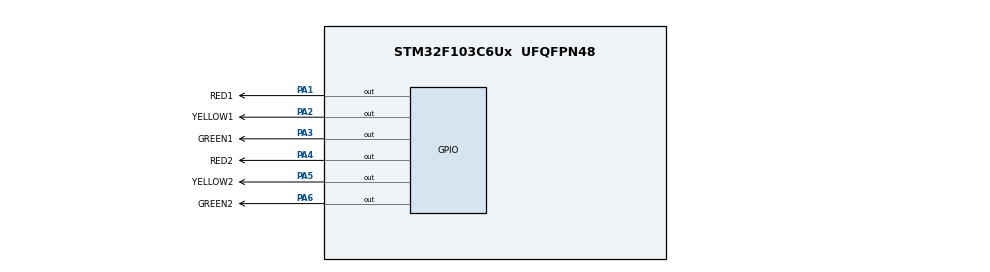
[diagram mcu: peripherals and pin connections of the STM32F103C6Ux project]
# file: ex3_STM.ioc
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Mcu.Family=STM32F1
Mcu.Name=STM32F103C6Ux
Mcu.Package=UFQFPN48
NVIC.PriorityGroup=NVIC_PRIORITYGROUP_4
PA1.GPIO_Label=RED1
PA1.Signal=GPIO_Output
PA2.GPIO_Label=YELLOW1
PA2.Signal=GPIO_Output
PA3.GPIO_Label=GREEN1
PA3.Signal=GPIO_Output
PA4.GPIO_Label=RED2
PA4.Signal=GPIO_Output
PA5.GPIO_Label=YELLOW2
PA5.Signal=GPIO_Output
PA6.GPIO_Label=GREEN2
PA6.Signal=GPIO_Output
ProjectManager.HeapSize=0x200
ProjectManager.StackSize=0x400
ProjectManager.TargetToolchain=STM32CubeIDE
RCC.APB1Freq_Value=8000000
RCC.APB2Freq_Value=8000000
VP_SYS_VS_ND.Mode=No_Debug
board=custom

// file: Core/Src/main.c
/* USER CODE BEGIN Header */
/**
  ******************************************************************************
  * @file           : main.c
  * @brief          : Main program body
  ******************************************************************************
  * @attention
  *
  * <h2><center>&copy; Copyright (c) 2022 STMicroelectronics.
  * All rights reserved.</center></h2>
  *
  * This software component is licensed by ST under BSD 3-Clause license,
  * the "License"; You may not use this file except in compliance with the
  * License. You may obtain a copy of the License at:
  *                        opensource.org/licenses/BSD-3-Clause
  *
  ******************************************************************************
  */
/* USER CODE END Header */
#include "main.h"

void SystemClock_Config(void);
static void MX_GPIO_Init(void);

int main(void)
{

  /* MCU Configuration--------------------------------------------------------*/

  /* Reset of all peripherals, Initializes the Flash interface and the Systick. */
  HAL_Init();

  /* Configure the system clock */
  SystemClock_Config();

  /* Initialize all configured peripherals */
  MX_GPIO_Init();
  /* USER CODE BEGIN 2 */
  	  HAL_GPIO_WritePin(RED1_GPIO_Port, RED1_Pin, SET);
  	  HAL_GPIO_WritePin(YELLOW1_GPIO_Port, YELLOW1_Pin, SET);
  	  HAL_GPIO_WritePin(GREEN1_GPIO_Port, GREEN1_Pin, SET);
  	  HAL_GPIO_WritePin(RED2_GPIO_Port, RED2_Pin, SET);
  	  HAL_GPIO_WritePin(YELLOW2_GPIO_Port, YELLOW2_Pin, SET);
  	  HAL_GPIO_WritePin(GREEN2_GPIO_Port, GREEN2_Pin, SET);
  /* USER CODE END 2 */

  /* Infinite loop */
  /* USER CODE BEGIN WHILE */
  int state = 1;
  while (1)
  {
	  switch (state){
	      	case 1:{
	      		HAL_GPIO_WritePin(GREEN1_GPIO_Port, GREEN1_Pin, RESET);
	      		HAL_GPIO_WritePin(RED2_GPIO_Port, RED2_Pin, RESET);
	      		for (int i=5; i>2 ; i--){
	      			HAL_Delay(1000);
	      		}
	      		HAL_GPIO_WritePin(GREEN1_GPIO_Port, GREEN1_Pin, SET);
	      		state = 2;
	      		break;
	      	}
	      	case 2:{
	      		HAL_GPIO_WritePin(YELLOW1_GPIO_Port, YELLOW1_Pin, RESET);
	      		for (int i=2; i>0; i--){
	      			HAL_Delay(1000);
	      		}
	      		HAL_GPIO_WritePin(YELLOW1_GPIO_Port, YELLOW1_Pin, SET);
	      		HAL_GPIO_WritePin(RED2_GPIO_Port, RED2_Pin, SET);
	      		state = 3;
	      		break;
	      	}
	      	case 3:{
	      		HAL_GPIO_WritePin(RED1_GPIO_Port, RED1_Pin, RESET);
	      		HAL_GPIO_WritePin(GREEN2_GPIO_Port, GREEN2_Pin, RESET);
	      		for(int i=5; i>2; i--){
	      			HAL_Delay(1000);
	      		}
	      		HAL_GPIO_WritePin(GREEN2_GPIO_Port, GREEN2_Pin, SET);
	      		state = 4;
	      		break;
	      	}
	      	case 4:{
	      		HAL_GPIO_WritePin(YELLOW2_GPIO_Port, YELLOW2_Pin, RESET);
	      		for(int i=2; i>0; i--){
	      			HAL_Delay(1000);
	      		}
	      		HAL_GPIO_WritePin(YELLOW2_GPIO_Port, YELLOW2_Pin, SET);
	      		HAL_GPIO_WritePin(RED1_GPIO_Port, RED1_Pin, SET);
	      		state = 1;
	      		break;
	      	}
	  }
    /* USER CODE END WHILE */

  }
}

void SystemClock_Config(void)
{
  RCC_OscInitTypeDef RCC_OscInitStruct = {0};
  RCC_ClkInitTypeDef RCC_ClkInitStruct = {0};

  /** Initializes the RCC Oscillators according to the specified parameters
  * in the RCC_OscInitTypeDef structure.
  */
  RCC_OscInitStruct.OscillatorType = RCC_OSCILLATORTYPE_HSI;
  RCC_OscInitStruct.HSIState = RCC_HSI_ON;
  RCC_OscInitStruct.HSICalibrationValue = RCC_HSICALIBRATION_DEFAULT;
  RCC_OscInitStruct.PLL.PLLState = RCC_PLL_NONE;
  if (HAL_RCC_OscConfig(&RCC_OscInitStruct) != HAL_OK)
  {
    Error_Handler();
  }
  /** Initializes the CPU, AHB and APB buses clocks
  */
  RCC_ClkInitStruct.ClockType = RCC_CLOCKTYPE_HCLK|RCC_CLOCKTYPE_SYSCLK
                              |RCC_CLOCKTYPE_PCLK1|RCC_CLOCKTYPE_PCLK2;
  RCC_ClkInitStruct.SYSCLKSource = RCC_SYSCLKSOURCE_HSI;
  RCC_ClkInitStruct.AHBCLKDivider = RCC_SYSCLK_DIV1;
  RCC_ClkInitStruct.APB1CLKDivider = RCC_HCLK_DIV1;
  RCC_ClkInitStruct.APB2CLKDivider = RCC_HCLK_DIV1;

  if (HAL_RCC_ClockConfig(&RCC_ClkInitStruct, FLASH_LATENCY_0) != HAL_OK)
  {
    Error_Handler();
  }
}

static void MX_GPIO_Init(void)
{
  GPIO_InitTypeDef GPIO_InitStruct = {0};

  /* GPIO Ports Clock Enable */
  __HAL_RCC_GPIOA_CLK_ENABLE();

  /*Configure GPIO pin Output Level */
  HAL_GPIO_WritePin(GPIOA, RED1_Pin|YELLOW1_Pin|GREEN1_Pin|RED2_Pin
                          |YELLOW2_Pin|GREEN2_Pin, GPIO_PIN_RESET);

  /*Configure GPIO pins : RED1_Pin YELLOW1_Pin GREEN1_Pin RED2_Pin
                           YELLOW2_Pin GREEN2_Pin */
  GPIO_InitStruct.Pin = RED1_Pin|YELLOW1_Pin|GREEN1_Pin|RED2_Pin
                          |YELLOW2_Pin|GREEN2_Pin;
  GPIO_InitStruct.Mode = GPIO_MODE_OUTPUT_PP;
  GPIO_InitStruct.Pull = GPIO_NOPULL;
  GPIO_InitStruct.Speed = GPIO_SPEED_FREQ_LOW;
  HAL_GPIO_Init(GPIOA, &GPIO_InitStruct);

}

void Error_Handler(void)
{
  __disable_irq();
  while (1)
  {
  }
}

/************************ (C) COPYRIGHT STMicroelectronics *****END OF FILE****/
